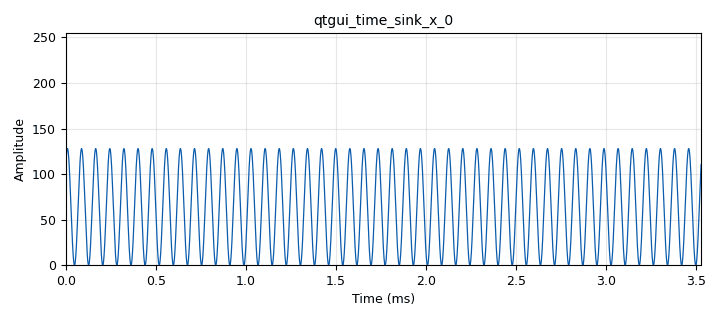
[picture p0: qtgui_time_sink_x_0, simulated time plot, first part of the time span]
options:
  parameters:
    author: Marcus Müller, Oleg Nikitin
    generate_options: qt_gui
    id: waves_qtgui
    output_language: python
    run_options: run
    title: SDL Demo with Qt GUI
  states: {}

blocks:
- name: samp_rate
  id: variable
  parameters:
    value: vector_length * num_rows * update_rate
  states: {}
- name: analog_sig_source_x_0
  id: analog_sig_source_x
  parameters:
    amp: '1'
    freq: update_rate*periods_per_row*num_rows
    offset: '1'
    phase: '0'
    samp_rate: update_rate*vector_length*num_rows
    type: float
    waveform: analog.GR_COS_WAVE
  states: {}
- name: blocks_float_to_uchar_0
  id: blocks_float_to_uchar
  parameters:
    bias: '0'
    scale: '1'
    vlen: '1'
  states: {}
- name: blocks_multiply_const_xx_0
  id: blocks_multiply_const_xx
  parameters:
    const: 2**6
    type: float
  states: {}
- name: blocks_throttle2_0
  id: blocks_throttle2
  parameters:
    limit: time
    maximum: 0.25/update_rate
    samples_per_second: update_rate*vector_length*num_rows
    type: float
  states: {}
- name: num_rows
  id: parameter
  parameters:
    label: Number of Rows
    short_id: n
    type: intx
    value: '512'
  states: {}
- name: periods_per_row
  id: parameter
  parameters:
    label: Periods per Row
    short_id: p
    type: eng_float
    value: 1-1/255
  states: {}
- name: qtgui_time_sink_x_0
  id: qtgui_time_sink_x
  parameters:
    size: vector_length * num_rows
    srate: samp_rate
    type: float
    update_time: 0.5 / update_rate
    ymax: '255'
    ymin: '0'
  states: {}
- name: update_rate
  id: parameter
  parameters:
    label: Update Rate
    short_id: r
    type: intx
    value: '25'
  states: {}
- name: vector_length
  id: parameter
  parameters:
    label: Vector Length
    short_id: l
    type: intx
    value: '512'
  states: {}
- name: video_sdl_sink_0
  id: video_sdl_sink
  parameters:
    display_height: num_rows
    display_width: vector_length
    fps: '0'
    height: num_rows
    type: byte
    width: vector_length
  states: {}

connections:
- [analog_sig_source_x_0, '0', blocks_throttle2_0, '0']
- [blocks_float_to_uchar_0, '0', video_sdl_sink_0, '0']
- [blocks_multiply_const_xx_0, '0', blocks_float_to_uchar_0, '0']
- [blocks_multiply_const_xx_0, '0', qtgui_time_sink_x_0, '0']
- [blocks_throttle2_0, '0', blocks_multiply_const_xx_0, '0']

metadata:
  file_format: 1
  grc_version: g935569cc9
